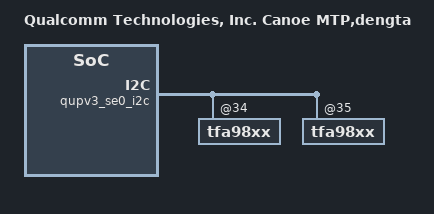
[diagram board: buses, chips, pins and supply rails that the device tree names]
/dts-v1/;
/plugin/;

#include <dt-bindings/oplus/hw-id.h>
#include "../canoe-audio-mtp.dts"

#include "canoe-audio-overlay-common.dtsi"
#include "dengta-25021-audio-canoe-overlay.dtsi"

/ {
	model = "Qualcomm Technologies, Inc. Canoe MTP,dengta";

	oplus,project-id = <25021 25022 25211 25212>;
	oplus,hw-id = <OPLUS_PRE_T0 OPLUS_EVB1 OPLUS_EVB2 OPLUS_EVB3 OPLUS_T0 OPLUS_EVT1 OPLUS_EVT2>;
};

&qupv3_se0_i2c {
	tfa98xx@34 {
		tfa_fw_name = "tfa98xx_evt.cnt";
	};
	tfa98xx@35 {
		tfa_fw_name = "tfa98xx_evt.cnt";
	};
};
